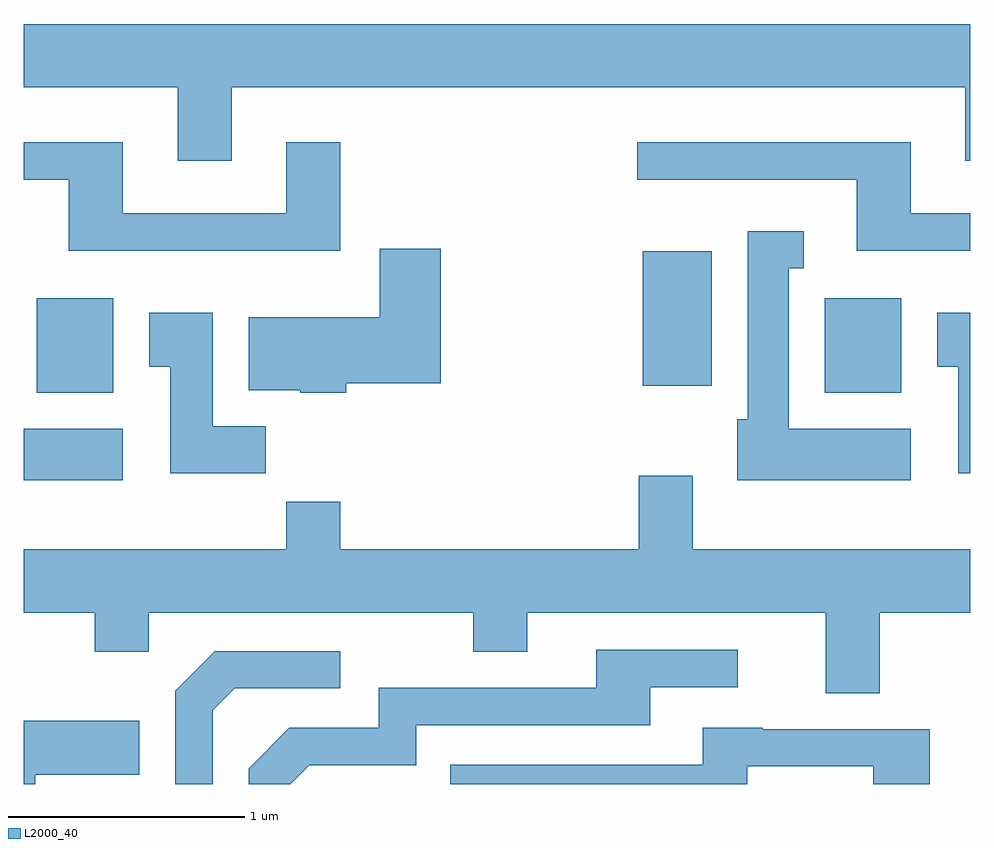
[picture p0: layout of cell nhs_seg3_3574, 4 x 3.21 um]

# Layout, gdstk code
import gdstk
lib = gdstk.Library(unit=1e-6, precision=1e-09)
def R(c, l, rs):  # rectangles x0, y0, x1, y1
    for r in rs: c.add(gdstk.rectangle(r[:2], r[2:], *l))
def P(c, l, *ps):  # polygons
    for p in ps: c.add(gdstk.Polygon(p, *l))
L2000_40 = (2000, 40)

nhs_seg3_3574 = lib.new_cell('nhs_seg3_3574')
R(nhs_seg3_3574, L2000_40, [(289.611,1193.176,290.029,1193.394), (289.666,1193.546,289.989,1193.944), (292.996,1193.546,293.319,1193.944), (292.226,1193.576,292.519,1194.144)])
P(nhs_seg3_3574, L2000_40, [(290.489,1194.836),(293.591,1194.836),(293.591,1194.526),(293.611,1194.526),(293.611,1195.104),(289.611,1195.104),(289.611,1194.836),(290.261,1194.836),(290.261,1194.526),(290.489,1194.526)],
  [(293.611,1194.304),(293.359,1194.304),(293.359,1194.604),(292.203,1194.604),(292.203,1194.446),(293.131,1194.446),(293.131,1194.146),(293.611,1194.146)],
  [(290.949,1194.604),(290.721,1194.604),(290.721,1194.304),(290.029,1194.304),(290.029,1194.604),(289.611,1194.604),(289.611,1194.446),(289.801,1194.446),(289.801,1194.146),(290.949,1194.146)],
  [(293.359,1193.394),(292.844,1193.394),(292.844,1194.071),(292.908,1194.071),(292.908,1194.229),(292.671,1194.229),(292.671,1193.434),(292.626,1193.434),(292.626,1193.176),(293.359,1193.176)],
  [(290.974,1193.586),(291.374,1193.586),(291.374,1194.154),(291.116,1194.154),(291.116,1193.864),(290.561,1193.864),(290.561,1193.556),(290.78,1193.556),(290.78,1193.546),(290.974,1193.546)],
  [(293.611,1193.884),(293.471,1193.884),(293.471,1193.656),(293.561,1193.656),(293.561,1193.206),(293.611,1193.206)],
  [(290.634,1193.404),(290.409,1193.404),(290.409,1193.884),(290.141,1193.884),(290.141,1193.656),(290.231,1193.656),(290.231,1193.206),(290.634,1193.206)],
  [(289.611,1192.616),(289.911,1192.616),(289.911,1192.451),(290.139,1192.451),(290.139,1192.616),(291.511,1192.616),(291.511,1192.451),(291.739,1192.451),(291.739,1192.616),(293.001,1192.616),(293.001,1192.276),(293.229,1192.276),(293.229,1192.616),(293.611,1192.616),(293.611,1192.884),(292.439,1192.884),(292.439,1193.194),(292.211,1193.194),(292.211,1192.884),(290.949,1192.884),(290.949,1193.084),(290.721,1193.084),(290.721,1192.884),(289.611,1192.884)],
  [(290.817,1191.971),(291.269,1191.971),(291.269,1192.141),(292.259,1192.141),(292.259,1192.301),(292.628,1192.301),(292.628,1192.459),(292.031,1192.459),(292.031,1192.299),(291.111,1192.299),(291.111,1192.129),(290.734,1192.129),(290.561,1191.957),(290.561,1191.892),(290.737,1191.892)],
  [(290.409,1192.204),(290.502,1192.296),(290.948,1192.296),(290.948,1192.454),(290.419,1192.454),(290.251,1192.287),(290.251,1191.892),(290.409,1191.892)],
  [(289.659,1191.931),(290.099,1191.931),(290.099,1192.159),(289.611,1192.159),(289.611,1191.892),(289.659,1191.892)],
  [(292.669,1191.966),(293.201,1191.966),(293.201,1191.892),(293.439,1191.892),(293.439,1192.124),(292.735,1192.124),(292.735,1192.129),(292.481,1192.129),(292.481,1191.974),(291.413,1191.974),(291.413,1191.892),(292.669,1191.892)])

lib.write_gds('nhs_seg3_3574.gds')
